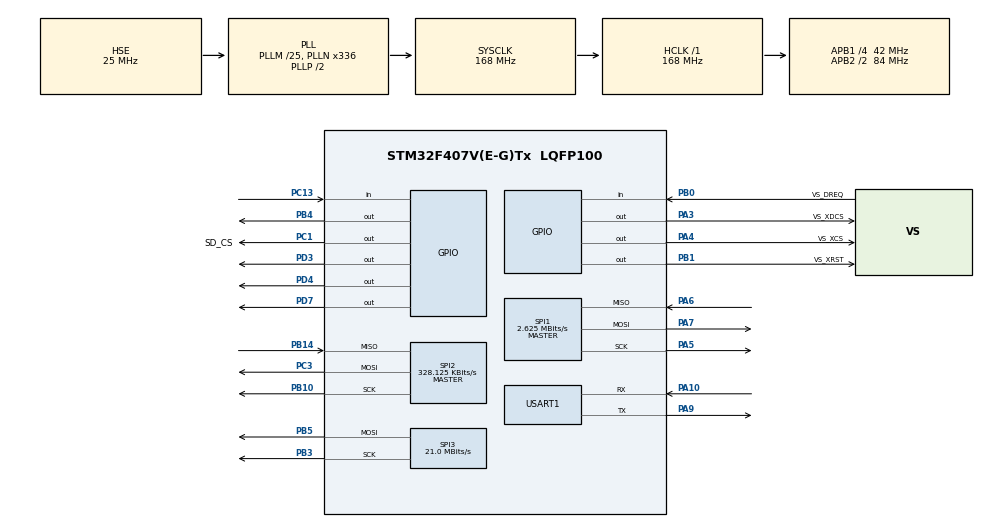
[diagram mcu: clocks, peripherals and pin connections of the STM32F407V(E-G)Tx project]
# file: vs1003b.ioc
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FATFS._CODE_PAGE=936
FATFS._USE_FIND=1
FATFS._USE_LFN=0
FREERTOS.Tasks01=defaultTask,24,128,StartDefaultTask,Default,NULL,Dynamic,NULL,NULL
FREERTOS.configTOTAL_HEAP_SIZE=20480
Mcu.Family=STM32F4
Mcu.Name=STM32F407V(E-G)Tx
Mcu.Package=LQFP100
NVIC.PriorityGroup=NVIC_PRIORITYGROUP_4
NVIC.TIM6_DAC_IRQn=true\:15\:0\:false\:false\:true\:false\:false\:true\:true
NVIC.TimeBase=TIM6_DAC_IRQn
NVIC.TimeBaseIP=TIM6
NVIC.USART1_IRQn=true\:5\:0\:false\:false\:true\:true\:true\:true\:true
PA10.Mode=Asynchronous
PA10.Signal=USART1_RX
PA13.Mode=Serial_Wire
PA13.Signal=SYS_JTMS-SWDIO
PA14.Mode=Serial_Wire
PA14.Signal=SYS_JTCK-SWCLK
PA3.GPIO_Label=VS_XDCS
PA3.PinState=GPIO_PIN_SET
PA3.Signal=GPIO_Output
PA4.GPIO_Label=VS_XCS
PA4.PinState=GPIO_PIN_SET
PA4.Signal=GPIO_Output
PA5.Mode=Full_Duplex_Master
PA5.Signal=SPI1_SCK
PA6.Mode=Full_Duplex_Master
PA6.Signal=SPI1_MISO
PA7.Mode=Full_Duplex_Master
PA7.Signal=SPI1_MOSI
PA9.Mode=Asynchronous
PA9.Signal=USART1_TX
PB0.GPIO_Label=VS_DREQ
PB0.Signal=GPIO_Input
PB1.GPIO_Label=VS_XRST
PB1.PinState=GPIO_PIN_SET
PB1.Signal=GPIO_Output
PB10.Mode=Full_Duplex_Master
PB10.Signal=SPI2_SCK
PB14.GPIO_PuPd=GPIO_PULLUP
PB14.Mode=Full_Duplex_Master
PB14.Signal=SPI2_MISO
PB3.Mode=TX_Only_Simplex_Unidirect_Master
PB3.Signal=SPI3_SCK
PB4.GPIO_PuPd=GPIO_PULLUP
PB4.GPIO_Speed=GPIO_SPEED_FREQ_HIGH
PB4.Signal=GPIO_Output
PB5.Mode=TX_Only_Simplex_Unidirect_Master
PB5.Signal=SPI3_MOSI
PC1.GPIO_Label=SD_CS
PC1.GPIO_PuPd=GPIO_PULLUP
PC1.GPIO_Speed=GPIO_SPEED_FREQ_HIGH
PC1.PinState=GPIO_PIN_SET
PC1.Signal=GPIO_Output
PC13-ANTI_TAMP.GPIO_PuPd=GPIO_PULLUP
PC13-ANTI_TAMP.Signal=GPIO_Input
PC14-OSC32_IN.Mode=LSE-External-Oscillator
PC14-OSC32_IN.Signal=RCC_OSC32_IN
PC15-OSC32_OUT.Mode=LSE-External-Oscillator
PC15-OSC32_OUT.Signal=RCC_OSC32_OUT
PC3.Mode=Full_Duplex_Master
PC3.Signal=SPI2_MOSI
PD3.GPIO_PuPd=GPIO_PULLUP
PD3.GPIO_Speed=GPIO_SPEED_FREQ_HIGH
PD3.PinState=GPIO_PIN_SET
PD3.Signal=GPIO_Output
PD4.GPIO_PuPd=GPIO_PULLUP
PD4.GPIO_Speed=GPIO_SPEED_FREQ_HIGH
PD4.PinState=GPIO_PIN_SET
PD4.Signal=GPIO_Output
PD7.GPIO_PuPd=GPIO_PULLUP
PD7.GPIO_Speed=GPIO_SPEED_FREQ_HIGH
PD7.PinState=GPIO_PIN_SET
PD7.Signal=GPIO_Output
PH0-OSC_IN.Mode=HSE-External-Oscillator
PH0-OSC_IN.Signal=RCC_OSC_IN
PH1-OSC_OUT.Mode=HSE-External-Oscillator
PH1-OSC_OUT.Signal=RCC_OSC_OUT
ProjectManager.HeapSize=0x2000
ProjectManager.StackSize=0x800
ProjectManager.TargetToolchain=MDK-ARM V5.32
RCC.48MHZClocksFreq_Value=84000000
RCC.AHBFreq_Value=168000000
RCC.APB1CLKDivider=RCC_HCLK_DIV4
RCC.APB1Freq_Value=42000000
RCC.APB1TimFreq_Value=84000000
RCC.APB2CLKDivider=RCC_HCLK_DIV2
RCC.APB2Freq_Value=84000000
RCC.APB2TimFreq_Value=168000000
RCC.CortexFreq_Value=168000000
RCC.HCLKFreq_Value=168000000
RCC.HSE_VALUE=25000000
RCC.HSI_VALUE=16000000
RCC.PLLM=25
RCC.PLLN=336
RCC.PLLSourceVirtual=RCC_PLLSOURCE_HSE
RCC.SYSCLKFreq_VALUE=168000000
RCC.SYSCLKSource=RCC_SYSCLKSOURCE_PLLCLK
RCC.VCOOutputFreq_Value=336000000
SPI1.BaudRatePrescaler=SPI_BAUDRATEPRESCALER_32
SPI1.CalculateBaudRate=2.625 MBits/s
SPI1.Direction=SPI_DIRECTION_2LINES
SPI1.Mode=SPI_MODE_MASTER
SPI1.VirtualType=VM_MASTER
SPI2.BaudRatePrescaler=SPI_BAUDRATEPRESCALER_128
SPI2.CalculateBaudRate=328.125 KBits/s
SPI2.Direction=SPI_DIRECTION_2LINES
SPI2.Mode=SPI_MODE_MASTER
SPI2.VirtualType=VM_MASTER
SPI3.CLKPhase=SPI_PHASE_2EDGE
SPI3.CLKPolarity=SPI_POLARITY_HIGH
SPI3.CalculateBaudRate=21.0 MBits/s
SPI3.Direction=SPI_DIRECTION_2LINES
SPI3.Mode=SPI_MODE_MASTER
SPI3.VirtualType=VM_MASTER
USART1.VirtualMode=VM_ASYNC
VP_FATFS_VS_Generic.Mode=User_defined
VP_FREERTOS_VS_CMSIS_V2.Mode=CMSIS_V2
VP_SYS_VS_tim6.Mode=TIM6
board=custom

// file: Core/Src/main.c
/* USER CODE BEGIN Header */
/**
  ******************************************************************************
  * @file           : main.c
  * @brief          : VS1003B Player — 音频优先, LCD 保留
  ******************************************************************************
  */
/* USER CODE END Header */
#include "main.h"
#include "cmsis_os.h"
#include "fatfs.h"
#include "spi.h"
#include "usart.h"
#include "gpio.h"

/* USER CODE BEGIN Includes */
#include "lcd.h"
#include "iap_config.h"
#include "flash_if.h"
#include "ymodem.h"
/* USER CODE END Includes */

/* USER CODE BEGIN PV */
WAV_Debug dbg = {0};

static uint16_t line_buffer[320];
lcd_io lcd_io_desc = {
    .spi = &hspi3,
    .rst = {LCD_RST_GPIO_Port, LCD_RST_Pin, 0},
    .bl  = {LCD_PWR_GPIO_Port, LCD_PWR_Pin, 1},
    .cs  = {LCD_CS_GPIO_Port, LCD_CS_Pin, 0},
    .dc  = {LCD_DC_GPIO_Port,  LCD_DC_Pin,  0},
    .te  = {NULL, 0, 0}
};
lcd lcd_desc = {
    .io = &lcd_io_desc,
    .line_buffer = line_buffer,
};
/* USER CODE END PV */

void SystemClock_Config(void);
void MX_FREERTOS_Init(void);

int main(void)
{

  /* MCU Configuration--------------------------------------------------------*/

  /* Reset of all peripherals, Initializes the Flash interface and the Systick. */
  HAL_Init();

  /* USER CODE BEGIN Init */
  /* IAP: BootLoader 跳转到此, 重定向向量表 */
  SCB->VTOR = APP1_BASE;
  __DSB(); __ISB();
  /* USER CODE END Init */

  /* Configure the system clock */
  SystemClock_Config();

  /* Initialize all configured peripherals */
  MX_GPIO_Init();
  MX_SPI1_Init();
  MX_FATFS_Init();
  MX_SPI2_Init();
  MX_USART1_UART_Init();
  MX_SPI3_Init();
  /* USER CODE BEGIN 2 */
  /* IAP: 上电按住 PC13 2秒 → YModem 固件升级 */
  {
      uint32_t t0 = HAL_GetTick();
      uint8_t iap = 0;
      while (HAL_GetTick() - t0 < 2000) {
          if (HAL_GPIO_ReadPin(BTN_NEXT_GPIO_Port, BTN_NEXT_Pin) == GPIO_PIN_SET)
              break;
          for (volatile uint32_t d = 0; d < 50000; d++);  /* ~10ms busy-wait */
      }
      if (HAL_GPIO_ReadPin(BTN_NEXT_GPIO_Port, BTN_NEXT_Pin) == GPIO_PIN_RESET)
          iap = 1;

      if (iap) {
          YModem_Init(&huart1);
          int fw_size = YModem_Receive(APP2_BASE + FW_HEADER_SIZE,
                                       APP2_SIZE - FW_HEADER_SIZE);
          if (fw_size > 0) {
              fw_header_t hdr;
              hdr.magic = FW_HEADER_MAGIC;
              hdr.fw_size = (uint32_t)fw_size;
              hdr.fw_version = 0x00010001;
              hdr.fw_crc = 0;
              flash_write_buf(APP2_BASE, (uint32_t*)&hdr, sizeof(hdr) / 4);
              flash_erase_sectors(PARAM_SECTOR_START + PARAM_SECTOR_COUNT - 1, 1);
              flash_write_word(UPDATE_FLAG_ADDR, UPDATE_FLAG_MAGIC);
              for (volatile uint32_t d = 0; d < 5000000; d++);  /* ~1s busy-wait */
          }
          NVIC_SystemReset();
          while (1);
      }
  }
  /* USER CODE END 2 */

  /* Init scheduler */
  osKernelInitialize();  /* Call init function for freertos objects (in cmsis_os2.c) */
  MX_FREERTOS_Init();

  /* Start scheduler */
  osKernelStart();

  /* We should never get here as control is now taken by the scheduler */

  /* Infinite loop */
  while (1)
  {

  }
}

void SystemClock_Config(void)
{
  RCC_OscInitTypeDef RCC_OscInitStruct = {0};
  RCC_ClkInitTypeDef RCC_ClkInitStruct = {0};

  /** Configure the main internal regulator output voltage
  */
  __HAL_RCC_PWR_CLK_ENABLE();
  __HAL_PWR_VOLTAGESCALING_CONFIG(PWR_REGULATOR_VOLTAGE_SCALE1);

  /** Initializes the RCC Oscillators according to the specified parameters
  * in the RCC_OscInitTypeDef structure.
  */
  RCC_OscInitStruct.OscillatorType = RCC_OSCILLATORTYPE_HSE;
  RCC_OscInitStruct.HSEState = RCC_HSE_ON;
  RCC_OscInitStruct.PLL.PLLState = RCC_PLL_ON;
  RCC_OscInitStruct.PLL.PLLSource = RCC_PLLSOURCE_HSE;
  RCC_OscInitStruct.PLL.PLLM = 25;
  RCC_OscInitStruct.PLL.PLLN = 336;
  RCC_OscInitStruct.PLL.PLLP = RCC_PLLP_DIV2;
  RCC_OscInitStruct.PLL.PLLQ = 4;
  if (HAL_RCC_OscConfig(&RCC_OscInitStruct) != HAL_OK)
  {
    Error_Handler();
  }

  /** Initializes the CPU, AHB and APB buses clocks
  */
  RCC_ClkInitStruct.ClockType = RCC_CLOCKTYPE_HCLK|RCC_CLOCKTYPE_SYSCLK
                              |RCC_CLOCKTYPE_PCLK1|RCC_CLOCKTYPE_PCLK2;
  RCC_ClkInitStruct.SYSCLKSource = RCC_SYSCLKSOURCE_PLLCLK;
  RCC_ClkInitStruct.AHBCLKDivider = RCC_SYSCLK_DIV1;
  RCC_ClkInitStruct.APB1CLKDivider = RCC_HCLK_DIV4;
  RCC_ClkInitStruct.APB2CLKDivider = RCC_HCLK_DIV2;

  if (HAL_RCC_ClockConfig(&RCC_ClkInitStruct, FLASH_LATENCY_5) != HAL_OK)
  {
    Error_Handler();
  }
}

void HAL_TIM_PeriodElapsedCallback(TIM_HandleTypeDef *htim)
{
  if (htim->Instance == TIM6)
  {
    HAL_IncTick();
  }
}

void Error_Handler(void)
{
  __disable_irq();
  while (1)
  {
  }
}

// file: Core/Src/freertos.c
/* USER CODE BEGIN Header */
/**
  ******************************************************************************
  * File Name          : freertos.c
  * @brief             : 多任务架构 — SD_Task / Audio_Task / LCD_Task
  ******************************************************************************
  */
/* USER CODE END Header */

#include "FreeRTOS.h"
#include "task.h"
#include "main.h"
#include "cmsis_os.h"

/* USER CODE BEGIN Includes */
#include "lcd.h"
#include "sd_task.h"
#include "audio_task.h"
#include "lcd_task.h"
#include "uart_recv.h"
/* USER CODE END Includes */

/* USER CODE BEGIN Variables */
extern osSemaphoreId_t sdReqSem;
extern osSemaphoreId_t sdDoneSem;
extern osSemaphoreId_t lcdWakeSem;

static const osThreadAttr_t sdTask_attr = {
    .name = "SD_Task", .stack_size = 1024, .priority = osPriorityAboveNormal,
};
static const osThreadAttr_t audioTask_attr = {
    .name = "Audio_Task", .stack_size = 2048, .priority = osPriorityNormal,
};
static const osThreadAttr_t lcdTask_attr = {
    .name = "LCD_Task", .stack_size = 1024, .priority = osPriorityLow,
};
/* USER CODE END Variables */

osThreadId_t defaultTaskHandle;
const osThreadAttr_t defaultTask_attributes = {
  .name = "defaultTask",
  .stack_size = 512,
  .priority = (osPriority_t) osPriorityLow,
};

void StartDefaultTask(void *argument);

void MX_FREERTOS_Init(void)
{
  /* USER CODE BEGIN RTOS_SEMAPHORES */
  sdReqSem   = osSemaphoreNew(1, 0, NULL);
  sdDoneSem  = osSemaphoreNew(1, 0, NULL);
  lcdWakeSem = osSemaphoreNew(1, 0, NULL);
  /* USER CODE END RTOS_SEMAPHORES */
  /* USER CODE BEGIN RTOS_MUTEXES */
  sdMutex    = osMutexNew(NULL);  /* 串行化 sd_sync */
  /* USER CODE END RTOS_MUTEXES */

  defaultTaskHandle = osThreadNew(StartDefaultTask, NULL, &defaultTask_attributes);

  /* USER CODE BEGIN RTOS_THREADS */
  osThreadNew(StartSDTask,    NULL, &sdTask_attr);
  osThreadNew(StartAudioTask, NULL, &audioTask_attr);
  osThreadNew(StartLCDTask,   NULL, &lcdTask_attr);
  /* USER CODE END RTOS_THREADS */
}

void StartDefaultTask(void *argument)
{
  (void)argument;

  /* LCD 初始化已由 LCD_Task 完成, defaultTask 负责串口命令轮询
     (每 50ms 检查一次, 支持 #UPDATE# #SEND# #INFO#) */
  for (;;)
  {
    UartRecv_Poll();
    osDelay(50);
  }
}
